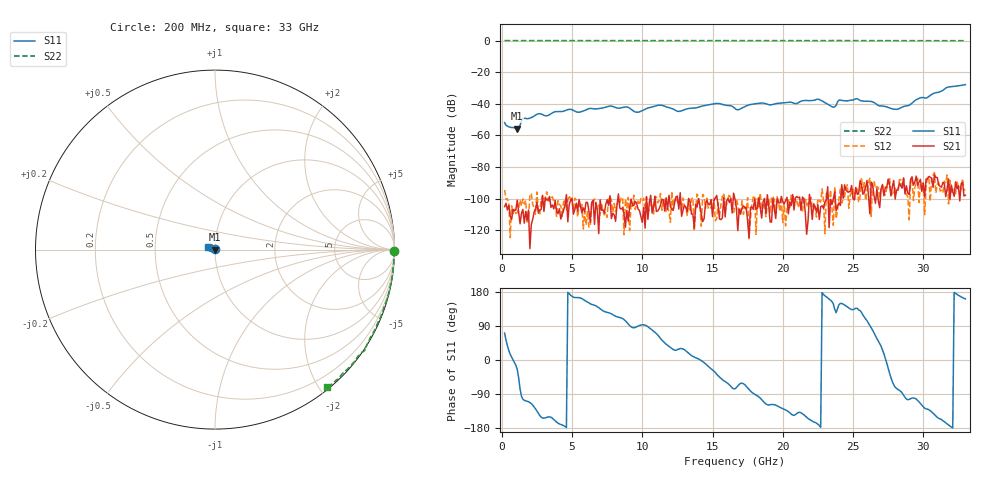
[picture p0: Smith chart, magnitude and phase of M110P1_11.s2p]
# GHZ S RI R 50
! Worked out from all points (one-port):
!   329 points, 200 MHz to 33 GHz, reference 50 ohm
!   lowest |S11| = -55.8 dB at 1.1 GHz (marker M1), VSWR 1.00, Z = 50.1 - j0.0683 ohm
!   |S11| at or under -10 dB: start of sweep to end of sweep
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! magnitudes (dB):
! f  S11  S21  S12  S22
! 200 MHz  -51.9  -105.0  -94.4  0.0
! 1.1 GHz  -55.8  -100.9  -108.8  0.0
! 1.5 GHz  -49.4  -106.7  -100.1  0.0
! 2.6 GHz  -46.3  -109.0  -107.3  0.0
! 3.2 GHz  -47.6  -100.8  -95.6  0.0
! 4.8 GHz  -43.5  -103.5  -97.9  0.0
! 5.7 GHz  -44.8  -108.8  -103.6  0.0
! 7.7 GHz  -41.4  -98.1  -98.9  0.0
! 9.7 GHz  -45.3  -106.5  -101.5  0.0
! 11.2 GHz  -40.9  -106.3  -101.1  0.0
! 12.6 GHz  -44.8  -106.5  -104.4  0.0
! 15.3 GHz  -39.7  -97.9  -112.5  0.0
! 16.6 GHz  -42.9  -100.2  -105.0  0.0
! 22.1 GHz  -37.9  -113.0  -105.8  0.0
! 22.6 GHz  -37.3  -113.0  -101.5  0.0
! 23.6 GHz  -42.1  -99.9  -116.8  0.0
! 24 GHz  -37.7  -102.6  -99.9  0.0
! 25.3 GHz  -36.8  -97.2  -93.6  -0.1
! 27.6 GHz  -42.6  -90.6  -86.5  0.0
! 28.2 GHz  -43.3  -94.2  -95.6  0.0
! 31.7 GHz  -29.6  -93.5  -85.0  -0.1
! 33 GHz  -27.9  -97.7  -94.3  -0.1
